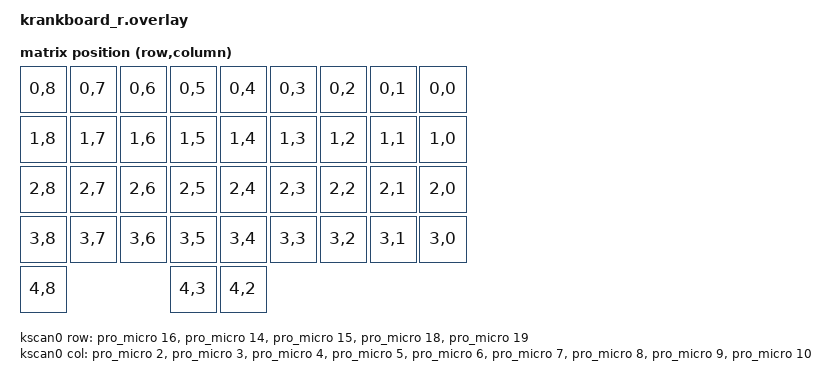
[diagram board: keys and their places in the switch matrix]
#include <dt-bindings/zmk/matrix_transform.h>
#include "krankboard_r-layouts.dtsi"

/{

	chosen {
        zmk,kscan = &kscan0;
        zmk,matrix-transform = &default_transform;
    };

    kscan0: kscan {
        compatible = "zmk,kscan-gpio-matrix";
        diode-direction = "col2row";
        wakeup-source;

		row-gpios = <&pro_micro 16 (GPIO_ACTIVE_LOW | GPIO_PULL_UP)>,
					<&pro_micro 14 (GPIO_ACTIVE_LOW | GPIO_PULL_UP)>, 
					<&pro_micro 15 (GPIO_ACTIVE_LOW | GPIO_PULL_UP)>,
					<&pro_micro 18 (GPIO_ACTIVE_LOW | GPIO_PULL_UP)>,
					<&pro_micro 19 (GPIO_ACTIVE_LOW | GPIO_PULL_UP)>;
					
		col-gpios = <&pro_micro 2 GPIO_ACTIVE_LOW>,
				<&pro_micro 3 GPIO_ACTIVE_LOW>,
				<&pro_micro 4 GPIO_ACTIVE_LOW>,
				<&pro_micro 5 GPIO_ACTIVE_LOW>,
				<&pro_micro 6 GPIO_ACTIVE_LOW>,
				<&pro_micro 7 GPIO_ACTIVE_LOW>,
				<&pro_micro 8 GPIO_ACTIVE_LOW>,
				<&pro_micro 9 GPIO_ACTIVE_LOW>,
				<&pro_micro 10 GPIO_ACTIVE_LOW>;

		default_transform: matrix_transform {
		compatible = "zmk,matrix-transform";
		rows = <5>;
		columns = <9>;
		
			map = <
				RC(0,8) RC(0,7) RC(0,6) RC(0,5) RC(0,4) RC(0,3) RC(0,2) RC(0,1) RC(0,0)
				RC(1,8) RC(1,7) RC(1,6) RC(1,5) RC(1,4) RC(1,3) RC(1,2) RC(1,1) RC(1,0)
				RC(2,8) RC(2,7) RC(2,6) RC(2,5) RC(2,4) RC(2,3) RC(2,2) RC(2,1) RC(2,0)
				RC(3,8) RC(3,7) RC(3,6) RC(3,5) RC(3,4) RC(3,3) RC(3,2) RC(3,1) RC(3,0)
				RC(4,8)					RC(4,3)	RC(4,2)
				>;
			};
    		};

	physical_layout0 {
	    kscan = <&kscan0>; // Label of the kscan node this layout uses
	    transform = <&default_transform>; // Label of the matrix transform this layout uses
	};


	zephyr_udc0: &usbd {
	    status = "okay";
	};
};
